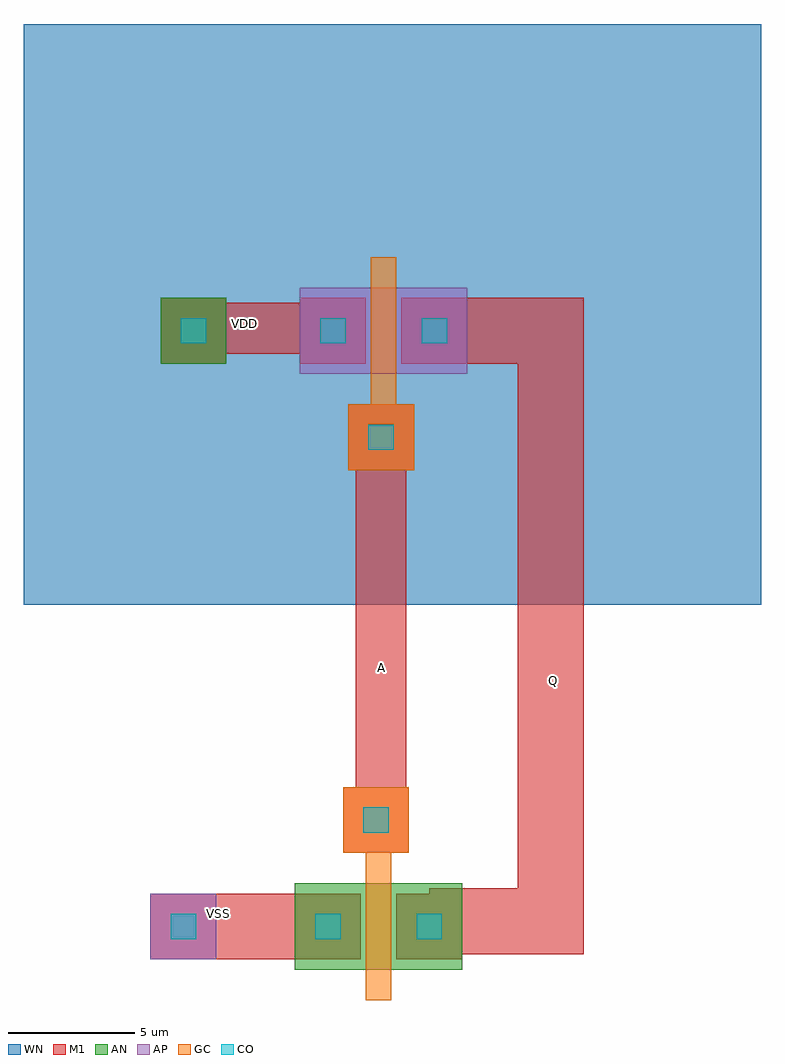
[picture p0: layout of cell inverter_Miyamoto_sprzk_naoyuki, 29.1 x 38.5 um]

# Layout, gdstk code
import gdstk
lib = gdstk.Library(unit=1e-6, precision=1e-07)
def R(c, l, rs):  # rectangles x0, y0, x1, y1
    for r in rs: c.add(gdstk.rectangle(r[:2], r[2:], *l))
AP = (3, 1)
AN = (3, 2)
GC = (8, 1)
CO = (11, 0)
M1 = (13, 0)
WN = (140, 0)

fet_n = lib.new_cell('fet_n')
R(fet_n, AN, [(-3.3,-1.7,3.3,1.7)])
R(fet_n, CO, [(-2.5,-0.5,-1.5,0.5), (1.5,-0.5,2.5,0.5)])
R(fet_n, M1, [(-3.3,-1.3,-0.7,1.3), (0.7,-1.3,3.3,1.3)])
fet_n.add(gdstk.FlexPath([(0,-2.9),(0,2.9)], 1, ends="flush", simple_path=True, layer=8, datatype=1))  # GC

fet_p = lib.new_cell('fet_p')
R(fet_p, AP, [(-3.3,-1.7,3.3,1.7)])
R(fet_p, CO, [(-2.5,-0.5,-1.5,0.5), (1.5,-0.5,2.5,0.5)])
R(fet_p, M1, [(-3.3,-1.3,-0.7,1.3), (0.7,-1.3,3.3,1.3)])
fet_p.add(gdstk.FlexPath([(0,-2.9),(0,2.9)], 1, ends="flush", simple_path=True, layer=8, datatype=1))  # GC

cont_g = lib.new_cell('cont_g')
R(cont_g, GC, [(-1.3,-1.3,1.3,1.3)])
R(cont_g, CO, [(-0.5,-0.5,0.5,0.5)])
R(cont_g, M1, [(-1.3,-1.3,1.3,1.3)])

cont_n = lib.new_cell('cont_n')
R(cont_n, AN, [(-1.3,-1.3,1.3,1.3)])
R(cont_n, CO, [(-0.5,-0.5,0.5,0.5)])
R(cont_n, M1, [(-1.3,-1.3,1.3,1.3)])

cont_p = lib.new_cell('cont_p')
R(cont_p, AP, [(-1.3,-1.3,1.3,1.3)])
R(cont_p, CO, [(-0.5,-0.5,0.5,0.5)])
R(cont_p, M1, [(-1.3,-1.3,1.3,1.3)])

inverter_miyamoto_sprzk_ = lib.new_cell('inverter_Miyamoto_sprzk_naoyuki')
R(inverter_miyamoto_sprzk_, WN, [(-12.7,8.9,16.4,31.8)])
inverter_miyamoto_sprzk_.add(gdstk.FlexPath([(1.4,15.3),(1.4,0.7)], 2, ends="flush", simple_path=True, layer=13, datatype=0))  # M1
inverter_miyamoto_sprzk_.add(gdstk.FlexPath([(-0.8,19.8),(-5.9,19.8)], 2, ends="flush", simple_path=True, layer=13, datatype=0))  # M1
inverter_miyamoto_sprzk_.add(gdstk.FlexPath([(-6.2,-3.8),(-0.8,-3.8)], 2.6, ends="flush", simple_path=True, layer=13, datatype=0))  # M1
inverter_miyamoto_sprzk_.add(gdstk.FlexPath([(4.4,19.7),(8.1,19.7),(8.1,-3.6),(3.4,-3.6),(3.4,-3.6),(3.3,-3.6)], 2.6, ends="flush", simple_path=True, layer=13, datatype=0))  # M1
inverter_miyamoto_sprzk_.add(gdstk.Reference(fet_n, (1.3,-3.8)))
inverter_miyamoto_sprzk_.add(gdstk.Reference(fet_p, (1.5,19.7)))
inverter_miyamoto_sprzk_.add(gdstk.Reference(cont_g, (1.4,15.5)))
inverter_miyamoto_sprzk_.add(gdstk.Reference(cont_g, (1.2,0.4)))
inverter_miyamoto_sprzk_.add(gdstk.Reference(cont_n, (-6,19.7)))
inverter_miyamoto_sprzk_.add(gdstk.Reference(cont_p, (-6.4,-3.8)))
inverter_miyamoto_sprzk_.add(gdstk.Label('VDD', (-4,20), layer=48, texttype=0))
inverter_miyamoto_sprzk_.add(gdstk.Label('VSS', (-5,-3.3), layer=48, texttype=0))
inverter_miyamoto_sprzk_.add(gdstk.Label('A', (1.4,6.4), layer=48, texttype=0))
inverter_miyamoto_sprzk_.add(gdstk.Label('Q', (8.2,5.9), layer=48, texttype=0))

lib.write_gds('inverter_Miyamoto_sprzk_naoyuki.gds')
